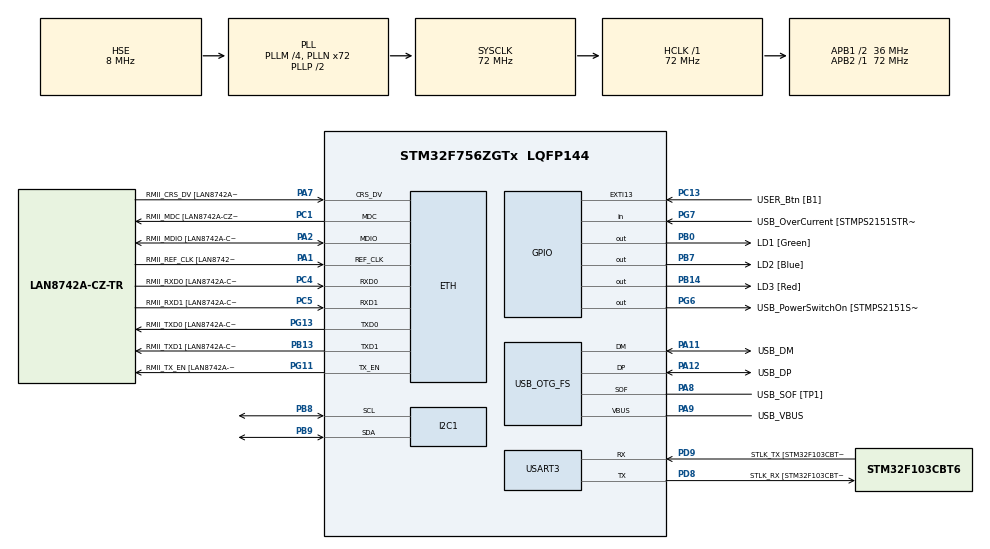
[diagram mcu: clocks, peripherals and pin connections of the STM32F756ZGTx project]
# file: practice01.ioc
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CORTEX_M7.ART_ACCELERATOR_ENABLE=0
CORTEX_M7.FlashInterface=AXI_Enabled
ETH.MediaInterface=HAL_ETH_RMII_MODE
ETH.PHY_Name=LAN8742A_PHY_ADDRESS
ETH.PHY_Value=0
ETH.PhyAddress=0
FREERTOS.Queues01=myQueue01,32,char,0,Dynamic,NULL,NULL
FREERTOS.Tasks01=defaultTask,24,128,StartDefaultTask,Default,NULL,Dynamic,NULL,NULL
FREERTOS.configUSE_NEWLIB_REENTRANT=1
I2C1.Timing=0x00808CD2
Mcu.Family=STM32F7
Mcu.Name=STM32F756ZGTx
Mcu.Package=LQFP144
NVIC.PriorityGroup=NVIC_PRIORITYGROUP_4
NVIC.RTC_Alarm_IRQn=true\:5\:0\:false\:true\:true\:2\:true\:true\:true\:true
NVIC.TIM1_UP_TIM10_IRQn=true\:15\:0\:false\:false\:true\:false\:false\:true\:true
NVIC.TimeBase=TIM1_UP_TIM10_IRQn
NVIC.TimeBaseIP=TIM1
NVIC.USART3_IRQn=true\:5\:0\:false\:true\:true\:1\:false\:true\:true\:true
PA1.GPIO_Label=RMII_REF_CLK [LAN8742A-CZ-TR_REFCLK0]
PA1.Mode=RMII
PA1.Signal=ETH_REF_CLK
PA10.GPIO_Label=USB_ID
PA10.Signal=USB_OTG_FS_ID
PA11.GPIO_Label=USB_DM
PA11.Mode=Device_Only
PA11.Signal=USB_OTG_FS_DM
PA12.GPIO_Label=USB_DP
PA12.Mode=Device_Only
PA12.Signal=USB_OTG_FS_DP
PA13.GPIO_Label=TMS
PA13.Mode=Serial_Wire
PA13.Signal=SYS_JTMS-SWDIO
PA14.GPIO_Label=TCK
PA14.Mode=Serial_Wire
PA14.Signal=SYS_JTCK-SWCLK
PA2.GPIO_Label=RMII_MDIO [LAN8742A-CZ-TR_MDIO]
PA2.Mode=RMII
PA2.Signal=ETH_MDIO
PA7.GPIO_Label=RMII_CRS_DV [LAN8742A-CZ-TR_CRS_DV]
PA7.Mode=RMII
PA7.Signal=ETH_CRS_DV
PA8.GPIO_Label=USB_SOF [TP1]
PA8.Mode=Activate_SOF_FS
PA8.Signal=USB_OTG_FS_SOF
PA9.GPIO_Label=USB_VBUS
PA9.Mode=Activate_VBUS
PA9.Signal=USB_OTG_FS_VBUS
PB0.GPIO_Label=LD1 [Green]
PB0.Signal=GPIO_Output
PB13.GPIO_Label=RMII_TXD1 [LAN8742A-CZ-TR_TXD1]
PB13.Mode=RMII
PB13.Signal=ETH_TXD1
PB14.GPIO_Label=LD3 [Red]
PB14.Signal=GPIO_Output
PB3.GPIO_Label=SW0
PB3.Signal=SYS_JTDO-SWO
PB7.GPIO_Label=LD2 [Blue]
PB7.Signal=GPIO_Output
PB8.Mode=I2C
PB8.Signal=I2C1_SCL
PB9.Mode=I2C
PB9.Signal=I2C1_SDA
PC1.GPIO_Label=RMII_MDC [LAN8742A-CZ-TR_MDC]
PC1.Mode=RMII
PC1.Signal=ETH_MDC
PC13.GPIO_Label=USER_Btn [B1]
PC13.Signal=GPXTI13
PC14/OSC32_IN.Mode=LSE-External-Oscillator
PC14/OSC32_IN.Signal=RCC_OSC32_IN
PC15/OSC32_OUT.Mode=LSE-External-Oscillator
PC15/OSC32_OUT.Signal=RCC_OSC32_OUT
PC4.GPIO_Label=RMII_RXD0 [LAN8742A-CZ-TR_RXD0]
PC4.Mode=RMII
PC4.Signal=ETH_RXD0
PC5.GPIO_Label=RMII_RXD1 [LAN8742A-CZ-TR_RXD1]
PC5.Mode=RMII
PC5.Signal=ETH_RXD1
PD8.GPIO_Label=STLK_RX [STM32F103CBT6_PA3]
PD8.Mode=Asynchronous
PD8.Signal=USART3_TX
PD9.GPIO_Label=STLK_TX [STM32F103CBT6_PA2]
PD9.Mode=Asynchronous
PD9.Signal=USART3_RX
PG11.GPIO_Label=RMII_TX_EN [LAN8742A-CZ-TR_TXEN]
PG11.Mode=RMII
PG11.Signal=ETH_TX_EN
PG13.GPIO_Label=RMII_TXD0 [LAN8742A-CZ-TR_TXD0]
PG13.Mode=RMII
PG13.Signal=ETH_TXD0
PG6.GPIO_Label=USB_PowerSwitchOn [STMPS2151STR_EN]
PG6.Signal=GPIO_Output
PG7.GPIO_Label=USB_OverCurrent [STMPS2151STR_FAULT]
PG7.Signal=GPIO_Input
PH0/OSC_IN.GPIO_Label=MCO [STM32F103CBT6_PA8]
PH0/OSC_IN.Mode=HSE-External-Clock-Source
PH0/OSC_IN.Signal=RCC_OSC_IN
PH1/OSC_OUT.Mode=HSE-External-Clock-Source
PH1/OSC_OUT.Signal=RCC_OSC_OUT
ProjectManager.HeapSize=0x200
ProjectManager.StackSize=0x400
ProjectManager.TargetToolchain=STM32CubeIDE
RCC.48MHZClocksFreq_Value=24000000
RCC.AHBFreq_Value=72000000
RCC.APB1CLKDivider=RCC_HCLK_DIV2
RCC.APB1Freq_Value=36000000
RCC.APB1TimFreq_Value=72000000
RCC.APB2Freq_Value=72000000
RCC.APB2TimFreq_Value=72000000
RCC.CortexFreq_Value=72000000
RCC.HCLKFreq_Value=72000000
RCC.HSE_VALUE=8000000
RCC.HSI_VALUE=16000000
RCC.PLLM=4
RCC.PLLMUL=RCC_PLL_MUL9
RCC.PLLN=72
RCC.PLLQ=3
RCC.PRESCALERUSB=RCC_USBCLKSOURCE_PLL_DIV1_5
RCC.SYSCLKFreq_VALUE=72000000
RCC.SYSCLKSource=RCC_SYSCLKSOURCE_PLLCLK
RCC.SYSCLKSourceVirtual=RCC_SYSCLKSOURCE_PLLCLK
RCC.USBFreq_Value=48000000
RCC.VCOOutputFreq_Value=144000000
RTC.Alarm-Alarm\ A=RTC_ALARM_A
RTC.AlarmMaskDateWeekDay-Alarm\ A=RTC_ALARMMASK_DATEWEEKDAY
RTC.AlarmMaskHours-Alarm\ A=RTC_ALARMMASK_HOURS
RTC.AlarmMaskMinutes-Alarm\ A=RTC_ALARMMASK_MINUTES
RTC.AlarmSubSecondMask-Alarm\ A=RTC_ALARMSUBSECONDMASK_ALL
RTC.Seconds=0
RTC.Seconds_A-Alarm\ A=1
RTC.SubSeconds_A-Alarm\ A=0
USART3.VirtualMode-Asynchronous=VM_ASYNC
USB_OTG_FS.VirtualMode=Device_Only
VP_FREERTOS_VS_CMSIS_V2.Mode=CMSIS_V2
VP_RTC_VS_RTC_Activate.Mode=RTC_Enabled
VP_RTC_VS_RTC_Alarm_A_Intern.Mode=Alarm A
VP_RTC_VS_RTC_Calendar.Mode=RTC_Calendar
VP_SYS_VS_tim1.Mode=TIM1
board=NUCLEO-F756ZG

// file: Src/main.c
/* USER CODE BEGIN Header */
/**
  ******************************************************************************
  * @file           : main.c
  * @brief          : Main program body
  ******************************************************************************
  * @attention
  *
  * Copyright (c) 2024 STMicroelectronics.
  * All rights reserved.
  *
  * This software is licensed under terms that can be found in the LICENSE file
  * in the root directory of this software component.
  * If no LICENSE file comes with this software, it is provided AS-IS.
  *
  ******************************************************************************
  */
/* USER CODE END Header */
#include "main.h"
#include "string.h"
#include "cmsis_os.h"

/* USER CODE BEGIN Includes */
#include "stm32f7xx_ll_rtc.h"
#include "stm32f7xx_ll_pwr.h"
#include "stdlib.h"
#include "flash_rw.h"
#include "flash_map.h"
/* USER CODE END Includes */

/* USER CODE BEGIN PTD */
#define RX_BUFFER_LENGTH 48

typedef struct RxBuffer
{
	uint16_t buffer_position;
	uint8_t buffer[RX_BUFFER_LENGTH];
} RxBuffer_t;
/* USER CODE END PTD */

/* USER CODE BEGIN PD */
#define RTC_BKUP_COMPARE 0x1234

/* USER CODE END PD */

#if defined ( __ICCARM__ ) /*!< IAR Compiler */
#pragma location=0x2004c000
ETH_DMADescTypeDef  DMARxDscrTab[ETH_RX_DESC_CNT]; /* Ethernet Rx DMA Descriptors */
#pragma location=0x2004c0a0
ETH_DMADescTypeDef  DMATxDscrTab[ETH_TX_DESC_CNT]; /* Ethernet Tx DMA Descriptors */

#elif defined ( __CC_ARM )  /* MDK ARM Compiler */

__attribute__((at(0x2004c000))) ETH_DMADescTypeDef  DMARxDscrTab[ETH_RX_DESC_CNT]; /* Ethernet Rx DMA Descriptors */
__attribute__((at(0x2004c0a0))) ETH_DMADescTypeDef  DMATxDscrTab[ETH_TX_DESC_CNT]; /* Ethernet Tx DMA Descriptors */

#elif defined ( __GNUC__ ) /* GNU Compiler */

ETH_DMADescTypeDef DMARxDscrTab[ETH_RX_DESC_CNT] __attribute__((section(".RxDecripSection"))); /* Ethernet Rx DMA Descriptors */
ETH_DMADescTypeDef DMATxDscrTab[ETH_TX_DESC_CNT] __attribute__((section(".TxDecripSection")));   /* Ethernet Tx DMA Descriptors */
#endif

ETH_TxPacketConfig TxConfig;

ETH_HandleTypeDef heth;

I2C_HandleTypeDef hi2c1;

RTC_HandleTypeDef hrtc;

UART_HandleTypeDef huart3;

PCD_HandleTypeDef hpcd_USB_OTG_FS;

/* Definitions for defaultTask */
osThreadId_t defaultTaskHandle;
const osThreadAttr_t defaultTask_attributes = {
  .name = "defaultTask",
  .stack_size = 128 * 4,
  .priority = (osPriority_t) osPriorityNormal,
};
/* Definitions for myQueue01 */
osMessageQueueId_t myQueue01Handle;
const osMessageQueueAttr_t myQueue01_attributes = {
  .name = "myQueue01"
};
/* USER CODE BEGIN PV */

RxBuffer_t input_buffer;
RTC_TimeTypeDef time_now;
RTC_DateTypeDef date_now;

/* Retargets the C library printf function to the USART. */
#include <stdio.h>
#ifdef __GNUC__
int __io_putchar(int ch)
#else
int fputc(int ch, FILE *f)
#endif
{
    HAL_UART_Transmit(&huart3, (uint8_t *)&ch, 1, 0xFFFF);

    return ch;
}
#ifdef __GNUC__
int _write(int file,char *ptr, int len)
{
    int DataIdx;
    for (DataIdx= 0; DataIdx< len; DataIdx++) {
        __io_putchar(*ptr++);
    }
    return len;
}
#endif
/* USER CODE END PV */

void SystemClock_Config(void);
static void MX_GPIO_Init(void);
static void MX_ETH_Init(void);
static void MX_USART3_UART_Init(void);
static void MX_USB_OTG_FS_PCD_Init(void);
static void MX_I2C1_Init(void);
static void MX_RTC_Init(void);
void StartDefaultTask(void *argument);

static void MX_NVIC_Init(void);
/* USER CODE BEGIN PFP */
void user_init(void);
static inline bool was_power_cycled(void);
/* USER CODE END PFP */

/* USER CODE BEGIN 0 */

// the static initializations ensure that the value is only tested and set once
// subsequent calls only have to return a value
static inline bool was_power_cycled(void)
{
	static bool first_call = true;
	static bool power_cycled = true;

	if (first_call)
	{
		first_call = false;
		power_cycled = HAL_RTCEx_BKUPRead(&hrtc, RTC_BKP_DR1) != RTC_BKUP_COMPARE;
		if (power_cycled) HAL_RTCEx_BKUPWrite(&hrtc, RTC_BKP_DR1, RTC_BKUP_COMPARE);
	}

	return power_cycled;
}
/* USER CODE END 0 */

int main(void)
{

  /* MCU Configuration--------------------------------------------------------*/

  /* Reset of all peripherals, Initializes the Flash interface and the Systick. */
  HAL_Init();

  /* USER CODE BEGIN Init */
  /* Turn off buffers, so I/O occurs immediately */
  setvbuf(stdin, NULL, _IONBF, 0);
  setvbuf(stdout, NULL, _IONBF, 0);
  setvbuf(stderr, NULL, _IONBF, 0);
  /* USER CODE END Init */

  /* Configure the system clock */
  SystemClock_Config();

  /* Initialize all configured peripherals */
  MX_GPIO_Init();
  MX_ETH_Init();
  MX_USART3_UART_Init();
  MX_USB_OTG_FS_PCD_Init();
  MX_I2C1_Init();
  MX_RTC_Init();

  /* Initialize interrupts */
  MX_NVIC_Init();

  /* Init scheduler */
  osKernelInitialize();

  /* Create the queue(s) */
  /* creation of myQueue01 */
  myQueue01Handle = osMessageQueueNew (32, sizeof(char), &myQueue01_attributes);

  /* Create the thread(s) */
  /* creation of defaultTask */
  defaultTaskHandle = osThreadNew(StartDefaultTask, NULL, &defaultTask_attributes);

  /* Start scheduler */
  osKernelStart();

  /* We should never get here as control is now taken by the scheduler */

  /* Infinite loop */
  while (1)
  {

  }
}

void SystemClock_Config(void)
{
  RCC_OscInitTypeDef RCC_OscInitStruct = {0};
  RCC_ClkInitTypeDef RCC_ClkInitStruct = {0};

  /** Configure LSE Drive Capability
  */
  HAL_PWR_EnableBkUpAccess();

  /** Configure the main internal regulator output voltage
  */
  __HAL_RCC_PWR_CLK_ENABLE();
  __HAL_PWR_VOLTAGESCALING_CONFIG(PWR_REGULATOR_VOLTAGE_SCALE3);

  /** Initializes the RCC Oscillators according to the specified parameters
  * in the RCC_OscInitTypeDef structure.
  */
  RCC_OscInitStruct.OscillatorType = RCC_OSCILLATORTYPE_LSI|RCC_OSCILLATORTYPE_HSE;
  RCC_OscInitStruct.HSEState = RCC_HSE_BYPASS;
  RCC_OscInitStruct.LSIState = RCC_LSI_ON;
  RCC_OscInitStruct.PLL.PLLState = RCC_PLL_ON;
  RCC_OscInitStruct.PLL.PLLSource = RCC_PLLSOURCE_HSE;
  RCC_OscInitStruct.PLL.PLLM = 4;
  RCC_OscInitStruct.PLL.PLLN = 72;
  RCC_OscInitStruct.PLL.PLLP = RCC_PLLP_DIV2;
  RCC_OscInitStruct.PLL.PLLQ = 3;
  if (HAL_RCC_OscConfig(&RCC_OscInitStruct) != HAL_OK)
  {
    Error_Handler();
  }

  /** Initializes the CPU, AHB and APB buses clocks
  */
  RCC_ClkInitStruct.ClockType = RCC_CLOCKTYPE_HCLK|RCC_CLOCKTYPE_SYSCLK
                              |RCC_CLOCKTYPE_PCLK1|RCC_CLOCKTYPE_PCLK2;
  RCC_ClkInitStruct.SYSCLKSource = RCC_SYSCLKSOURCE_PLLCLK;
  RCC_ClkInitStruct.AHBCLKDivider = RCC_SYSCLK_DIV1;
  RCC_ClkInitStruct.APB1CLKDivider = RCC_HCLK_DIV2;
  RCC_ClkInitStruct.APB2CLKDivider = RCC_HCLK_DIV1;

  if (HAL_RCC_ClockConfig(&RCC_ClkInitStruct, FLASH_LATENCY_2) != HAL_OK)
  {
    Error_Handler();
  }
}

/**
  * @brief NVIC Configuration.
  * @retval None
  */
static void MX_NVIC_Init(void)
{
  /* USART3_IRQn interrupt configuration */
  HAL_NVIC_SetPriority(USART3_IRQn, 5, 0);
  HAL_NVIC_EnableIRQ(USART3_IRQn);
  /* RTC_Alarm_IRQn interrupt configuration */
  HAL_NVIC_SetPriority(RTC_Alarm_IRQn, 5, 0);
  HAL_NVIC_EnableIRQ(RTC_Alarm_IRQn);
}

static void MX_ETH_Init(void)
{

   static uint8_t MACAddr[6];

  heth.Instance = ETH;
  MACAddr[0] = 0x00;
  MACAddr[1] = 0x80;
  MACAddr[2] = 0xE1;
  MACAddr[3] = 0x00;
  MACAddr[4] = 0x00;
  MACAddr[5] = 0x00;
  heth.Init.MACAddr = &MACAddr[0];
  heth.Init.MediaInterface = HAL_ETH_RMII_MODE;
  heth.Init.TxDesc = DMATxDscrTab;
  heth.Init.RxDesc = DMARxDscrTab;
  heth.Init.RxBuffLen = 1524;

  if (HAL_ETH_Init(&heth) != HAL_OK)
  {
    Error_Handler();
  }

  memset(&TxConfig, 0 , sizeof(ETH_TxPacketConfig));
  TxConfig.Attributes = ETH_TX_PACKETS_FEATURES_CSUM | ETH_TX_PACKETS_FEATURES_CRCPAD;
  TxConfig.ChecksumCtrl = ETH_CHECKSUM_IPHDR_PAYLOAD_INSERT_PHDR_CALC;
  TxConfig.CRCPadCtrl = ETH_CRC_PAD_INSERT;

}

static void MX_I2C1_Init(void)
{

  hi2c1.Instance = I2C1;
  hi2c1.Init.Timing = 0x00808CD2;
  hi2c1.Init.OwnAddress1 = 0;
  hi2c1.Init.AddressingMode = I2C_ADDRESSINGMODE_7BIT;
  hi2c1.Init.DualAddressMode = I2C_DUALADDRESS_DISABLE;
  hi2c1.Init.OwnAddress2 = 0;
  hi2c1.Init.OwnAddress2Masks = I2C_OA2_NOMASK;
  hi2c1.Init.GeneralCallMode = I2C_GENERALCALL_DISABLE;
  hi2c1.Init.NoStretchMode = I2C_NOSTRETCH_DISABLE;
  if (HAL_I2C_Init(&hi2c1) != HAL_OK)
  {
    Error_Handler();
  }

  /** Configure Analogue filter
  */
  if (HAL_I2CEx_ConfigAnalogFilter(&hi2c1, I2C_ANALOGFILTER_ENABLE) != HAL_OK)
  {
    Error_Handler();
  }

  /** Configure Digital filter
  */
  if (HAL_I2CEx_ConfigDigitalFilter(&hi2c1, 0) != HAL_OK)
  {
    Error_Handler();
  }

}

static void MX_RTC_Init(void)
{

  RTC_TimeTypeDef sTime = {0};
  RTC_DateTypeDef sDate = {0};
  RTC_AlarmTypeDef sAlarm = {0};

  /** Initialize RTC Only
  */
  hrtc.Instance = RTC;
  hrtc.Init.HourFormat = RTC_HOURFORMAT_24;
  hrtc.Init.AsynchPrediv = 127;
  hrtc.Init.SynchPrediv = 255;
  hrtc.Init.OutPut = RTC_OUTPUT_DISABLE;
  hrtc.Init.OutPutPolarity = RTC_OUTPUT_POLARITY_HIGH;
  hrtc.Init.OutPutType = RTC_OUTPUT_TYPE_OPENDRAIN;
  if (HAL_RTC_Init(&hrtc) != HAL_OK)
  {
    Error_Handler();
  }

  /* USER CODE BEGIN Check_RTC_BKUP */

  if (!was_power_cycled())
  {
	  if (HAL_RTC_SetAlarm_IT(&hrtc, &sAlarm, RTC_FORMAT_BCD) != HAL_OK)
	  {
		Error_Handler();
	  }

	  return;
  }

  /* Note: the following is for "one time" operations after power cycle. */
  printf("Configuring RTC (power cycled).\n\r");

  /* USER CODE END Check_RTC_BKUP */

  /** Initialize RTC and set the Time and Date
  */
  sTime.Hours = 0x0;
  sTime.Minutes = 0x0;
  sTime.Seconds = 0x0;
  sTime.DayLightSaving = RTC_DAYLIGHTSAVING_NONE;
  sTime.StoreOperation = RTC_STOREOPERATION_RESET;
  if (HAL_RTC_SetTime(&hrtc, &sTime, RTC_FORMAT_BCD) != HAL_OK)
  {
    Error_Handler();
  }
  sDate.WeekDay = RTC_WEEKDAY_MONDAY;
  sDate.Month = RTC_MONTH_JANUARY;
  sDate.Date = 0x1;
  sDate.Year = 0x0;
  if (HAL_RTC_SetDate(&hrtc, &sDate, RTC_FORMAT_BCD) != HAL_OK)
  {
    Error_Handler();
  }

  /** Enable the Alarm A
  */
  sAlarm.AlarmTime.Hours = 0x0;
  sAlarm.AlarmTime.Minutes = 0x0;
  sAlarm.AlarmTime.Seconds = 0x1;
  sAlarm.AlarmTime.SubSeconds = 0x0;
  sAlarm.AlarmTime.DayLightSaving = RTC_DAYLIGHTSAVING_NONE;
  sAlarm.AlarmTime.StoreOperation = RTC_STOREOPERATION_RESET;
  sAlarm.AlarmMask = RTC_ALARMMASK_DATEWEEKDAY|RTC_ALARMMASK_HOURS
                              |RTC_ALARMMASK_MINUTES;
  sAlarm.AlarmSubSecondMask = RTC_ALARMSUBSECONDMASK_ALL;
  sAlarm.AlarmDateWeekDaySel = RTC_ALARMDATEWEEKDAYSEL_DATE;
  sAlarm.AlarmDateWeekDay = 0x1;
  sAlarm.Alarm = RTC_ALARM_A;
  if (HAL_RTC_SetAlarm_IT(&hrtc, &sAlarm, RTC_FORMAT_BCD) != HAL_OK)
  {
    Error_Handler();
  }

}

static void MX_USART3_UART_Init(void)
{

  huart3.Instance = USART3;
  huart3.Init.BaudRate = 115200;
  huart3.Init.WordLength = UART_WORDLENGTH_8B;
  huart3.Init.StopBits = UART_STOPBITS_1;
  huart3.Init.Parity = UART_PARITY_NONE;
  huart3.Init.Mode = UART_MODE_TX_RX;
  huart3.Init.HwFlowCtl = UART_HWCONTROL_NONE;
  huart3.Init.OverSampling = UART_OVERSAMPLING_16;
  huart3.Init.OneBitSampling = UART_ONE_BIT_SAMPLE_DISABLE;
  huart3.AdvancedInit.AdvFeatureInit = UART_ADVFEATURE_NO_INIT;
  if (HAL_UART_Init(&huart3) != HAL_OK)
  {
    Error_Handler();
  }

}

static void MX_USB_OTG_FS_PCD_Init(void)
{

  hpcd_USB_OTG_FS.Instance = USB_OTG_FS;
  hpcd_USB_OTG_FS.Init.dev_endpoints = 6;
  hpcd_USB_OTG_FS.Init.speed = PCD_SPEED_FULL;
  hpcd_USB_OTG_FS.Init.dma_enable = DISABLE;
  hpcd_USB_OTG_FS.Init.phy_itface = PCD_PHY_EMBEDDED;
  hpcd_USB_OTG_FS.Init.Sof_enable = ENABLE;
  hpcd_USB_OTG_FS.Init.low_power_enable = DISABLE;
  hpcd_USB_OTG_FS.Init.lpm_enable = DISABLE;
  hpcd_USB_OTG_FS.Init.vbus_sensing_enable = ENABLE;
  hpcd_USB_OTG_FS.Init.use_dedicated_ep1 = DISABLE;
  if (HAL_PCD_Init(&hpcd_USB_OTG_FS) != HAL_OK)
  {
    Error_Handler();
  }

}

static void MX_GPIO_Init(void)
{
  GPIO_InitTypeDef GPIO_InitStruct = {0};

  /* GPIO Ports Clock Enable */
  __HAL_RCC_GPIOC_CLK_ENABLE();
  __HAL_RCC_GPIOH_CLK_ENABLE();
  __HAL_RCC_GPIOA_CLK_ENABLE();
  __HAL_RCC_GPIOB_CLK_ENABLE();
  __HAL_RCC_GPIOD_CLK_ENABLE();
  __HAL_RCC_GPIOG_CLK_ENABLE();

  /*Configure GPIO pin Output Level */
  HAL_GPIO_WritePin(GPIOB, LD1_Pin|LD3_Pin|LD2_Pin, GPIO_PIN_RESET);

  /*Configure GPIO pin Output Level */
  HAL_GPIO_WritePin(USB_PowerSwitchOn_GPIO_Port, USB_PowerSwitchOn_Pin, GPIO_PIN_RESET);

  /*Configure GPIO pin : USER_Btn_Pin */
  GPIO_InitStruct.Pin = USER_Btn_Pin;
  GPIO_InitStruct.Mode = GPIO_MODE_IT_RISING;
  GPIO_InitStruct.Pull = GPIO_NOPULL;
  HAL_GPIO_Init(USER_Btn_GPIO_Port, &GPIO_InitStruct);

  /*Configure GPIO pins : LD1_Pin LD3_Pin LD2_Pin */
  GPIO_InitStruct.Pin = LD1_Pin|LD3_Pin|LD2_Pin;
  GPIO_InitStruct.Mode = GPIO_MODE_OUTPUT_PP;
  GPIO_InitStruct.Pull = GPIO_NOPULL;
  GPIO_InitStruct.Speed = GPIO_SPEED_FREQ_LOW;
  HAL_GPIO_Init(GPIOB, &GPIO_InitStruct);

  /*Configure GPIO pin : USB_PowerSwitchOn_Pin */
  GPIO_InitStruct.Pin = USB_PowerSwitchOn_Pin;
  GPIO_InitStruct.Mode = GPIO_MODE_OUTPUT_PP;
  GPIO_InitStruct.Pull = GPIO_NOPULL;
  GPIO_InitStruct.Speed = GPIO_SPEED_FREQ_LOW;
  HAL_GPIO_Init(USB_PowerSwitchOn_GPIO_Port, &GPIO_InitStruct);

  /*Configure GPIO pin : USB_OverCurrent_Pin */
  GPIO_InitStruct.Pin = USB_OverCurrent_Pin;
  GPIO_InitStruct.Mode = GPIO_MODE_INPUT;
  GPIO_InitStruct.Pull = GPIO_NOPULL;
  HAL_GPIO_Init(USB_OverCurrent_GPIO_Port, &GPIO_InitStruct);

}

/* USER CODE BEGIN 4 */
void HAL_UART_RxCpltCallback(UART_HandleTypeDef *huart)
{
	if (input_buffer.buffer_position >= RX_BUFFER_LENGTH - 2
			|| input_buffer.buffer[input_buffer.buffer_position] == '\r'
			|| input_buffer.buffer[input_buffer.buffer_position] == '\n')
	{
		input_buffer.buffer[input_buffer.buffer_position] = '\n';
		input_buffer.buffer[input_buffer.buffer_position+1] = '\r';

		HAL_UART_Transmit(&huart3, input_buffer.buffer, RX_BUFFER_LENGTH, 0xFFFF);

		input_buffer.buffer_position = 0;
		memset(input_buffer.buffer, (uint8_t)'\0', sizeof(uint8_t) * RX_BUFFER_LENGTH);
	}
	else
	{
		input_buffer.buffer_position++;
	}

	HAL_UART_Receive_IT(&huart3, input_buffer.buffer + input_buffer.buffer_position, 1);
}

void HAL_RTC_AlarmAEventCallback(RTC_HandleTypeDef *hrtc)
{
	static uint8_t index = 0;
	static RTC_AlarmTypeDef sAlarm;

	// update the global timestamp every alarm
	HAL_RTC_GetTime(hrtc, &time_now, FORMAT_BIN);
	HAL_RTC_GetDate(hrtc, &date_now, FORMAT_BIN);

	// increment the alarm so it keeps going
	HAL_RTC_GetAlarm(hrtc,&sAlarm,RTC_ALARM_A,FORMAT_BIN);

	if(sAlarm.AlarmTime.Seconds < 59)
	{
		sAlarm.AlarmTime.Seconds += 1;
	}
	else
	{
		sAlarm.AlarmTime.Seconds = 0;
	}

	while(HAL_RTC_SetAlarm_IT(hrtc, &sAlarm, FORMAT_BIN)!=HAL_OK)
	{
	}

	HAL_GPIO_WritePin(LD1_GPIO_Port, LD1_Pin, index == 0);
	HAL_GPIO_WritePin(LD2_GPIO_Port, LD2_Pin, index == 1 || index == 3);
	HAL_GPIO_WritePin(LD3_GPIO_Port, LD3_Pin, index == 2);

	index++;
	if (index > 3) index = 0;
}

void print_flash_map_logs(FlashMap_t *map)
{
	printf("\n\rPrinting test logs:\n\r");
	uint8_t sectorIdx = map->head_sector_index;
    uint8_t prevStringLength = 0;
    uint8_t lastStringLength = 0;
	uint32_t sectorOffset = 0;
	char testLog[FLASH_STRING_LENGTH_BYTES];

	memset(testLog, '\0', FLASH_STRING_LENGTH_BYTES);

	for(;;)
	{
		// check if finished reading current sector
		if(sectorOffset >= map->sectors_write_offsets[sectorIdx])
		{
			// check if need to stop (or start over, but stop for now)
			if (sectorIdx == map->tail_sector_index)
			{
				//sectoridx = inmem_flash_map->head_sector_index;
				//stringidx = 0;
				break;
			}
			// else increment read sector
			else
			{
				sectorIdx++;
				sectorOffset = 0;
				if (sectorIdx >= FLASH_USED_SECTORS_COUNT) sectorIdx = 0;
			}
		}

		lastStringLength = flash_map_get_string_nonalloc(map, sectorIdx, sectorOffset, (uint8_t *)testLog);
		printf("%02u:%02u:%02u ~ Sector %lu <+%lu>(%02u)[%s]\n\r", time_now.Hours, time_now.Minutes, time_now.Seconds, map->sectors_numbers[sectorIdx], sectorOffset, lastStringLength, testLog);
		osDelay(pdMS_TO_TICKS(1));
		sectorOffset += lastStringLength + 1;

		if (lastStringLength != prevStringLength)
		{
			memset(testLog, '\0', FLASH_STRING_LENGTH_BYTES);
		}

		prevStringLength = lastStringLength;
	}

	printf("Done.\n\r");
}

void write_test_flash_map(FlashMap_t *map, uint16_t log_count)
{
    uint8_t last_string_length = 0;
	char testLog[FLASH_STRING_LENGTH_BYTES];
	printf("Writing %u test logs of max length %u.\n\r", log_count, FLASH_STRING_LENGTH_BYTES);
	printf("\n\rLogs written: 00000/%05u\b\b\b\b\b\b\b\b\b\b\b", log_count-1);

	for (uint16_t i = 0; i < log_count; i++)
	{
		osDelay(1);
		printf("%05u/%05u(%02u)\b\b\b\b\b\b\b\b\b\b\b\b\b\b\b", i, log_count-1, last_string_length);
		sprintf(testLog, "%u:%u:%u ~ Test log %u.", time_now.Hours, time_now.Minutes, time_now.Seconds, i);
		last_string_length = flash_map_append_string(map, (uint8_t *)testLog);
	}

	printf("\n\rWritten %d test logs.\n\r", log_count);
	flash_map_save(map, FLASH_SECTOR_3_ADDRESS);
	printf("Saved flash map to flash storage.\n\r");
	osDelay(pdMS_TO_TICKS(100));
}

void reset_alarm()
{
	static RTC_AlarmTypeDef sAlarm;

	// update the global timestamp
	HAL_RTC_GetTime(&hrtc, &time_now, FORMAT_BIN);
	HAL_RTC_GetDate(&hrtc, &date_now, FORMAT_BIN);

	// set the alarm so it keeps going
	HAL_RTC_GetAlarm(&hrtc,&sAlarm,RTC_ALARM_A,FORMAT_BIN);

	if (time_now.Seconds >= 59) sAlarm.AlarmTime.Seconds = 0;
	else sAlarm.AlarmTime.Seconds = time_now.Seconds + 1;

	while(HAL_RTC_SetAlarm_IT(&hrtc, &sAlarm, FORMAT_BIN)!=HAL_OK)
	{
	}
}

void print_date_time()
{
	printf("\n\rThe current date is: %02u/%02u/%02u.\n\r", date_now.Date, date_now.Month, date_now.Year);
	printf("The current time is: %02u:%02u:%02u.\n\r", time_now.Hours, time_now.Minutes, time_now.Seconds);
}

void set_date_time()
{
	RTC_DateTypeDef sDate = {0};
	RTC_TimeTypeDef sTime = {0};
	char input[2];
	uint8_t num = 0;

	sDate.WeekDay = RTC_WEEKDAY_MONDAY;
	sTime.DayLightSaving = RTC_DAYLIGHTSAVING_NONE;
	sTime.StoreOperation = RTC_STOREOPERATION_RESET;

	printf("Let's set the date.\n\rAll values are two digits including leading zero.\n\r");
	printf("enter year (yes two digits, STM is not Y2K prepared): ");
	HAL_UART_Receive(&huart3, (uint8_t *)&input[0], 1, 0xFFFF);
	printf("%c", input[0]);
	osDelay(100);
	HAL_UART_Receive(&huart3, (uint8_t *)&input[1], 1, 0xFFFF);
	printf("%c", input[1]);

	num = atoi(input);
	sDate.Year = num;
	osDelay(100);

	num = 30;
	while (num < 1 || num > 12)
	{
		printf("\n\renter month: ");
		HAL_UART_Receive(&huart3, (uint8_t *)&input[0], 1, 0xFFFF);
		printf("%c", input[0]);
		osDelay(100);
		HAL_UART_Receive(&huart3, (uint8_t *)&input[1], 1, 0xFFFF);
		printf("%c", input[1]);

		num = atoi(input);
	}

	sDate.Month = num;
	osDelay(100);

	printf("\n\renter day of the month: ");
	HAL_UART_Receive(&huart3, (uint8_t *)&input[0], 1, 0xFFFF);
	printf("%c", input[0]);
	osDelay(100);
	HAL_UART_Receive(&huart3, (uint8_t *)&input[1], 1, 0xFFFF);
	printf("%c", input[1]);

	num = atoi(input);
	sDate.Date = num;
	osDelay(100);

	printf("Let's set the time.\n\rAll values are two digits including leading zero.\n\r");
	printf("enter hour: ");
	HAL_UART_Receive(&huart3, (uint8_t *)&input[0], 1, 0xFFFF);
	printf("%c", input[0]);
	osDelay(100);
	HAL_UART_Receive(&huart3, (uint8_t *)&input[1], 1, 0xFFFF);
	printf("%c", input[1]);

	num = atoi(input);
	sTime.Hours = num;
	osDelay(100);

	printf("\n\renter minutes: ");
	HAL_UART_Receive(&huart3, (uint8_t *)&input[0], 1, 0xFFFF);
	printf("%c", input[0]);
	osDelay(100);
	HAL_UART_Receive(&huart3, (uint8_t *)&input[1], 1, 0xFFFF);
	printf("%c", input[1]);

	num = atoi(input);
	sTime.Minutes = num;
	osDelay(100);

	printf("\n\renter seconds: ");
	HAL_UART_Receive(&huart3, (uint8_t *)&input[0], 1, 0xFFFF);
	printf("%c", input[0]);
	osDelay(100);
	HAL_UART_Receive(&huart3, (uint8_t *)&input[1], 1, 0xFFFF);
	printf("%c", input[1]);

	num = atoi(input);
	sTime.Seconds = num;

	if (HAL_RTC_SetDate(&hrtc, &sDate, RTC_FORMAT_BIN) != HAL_OK)
	{
		printf("Error setting the date, apparently.\n\r");
		Error_Handler();
	}

	if (HAL_RTC_SetTime(&hrtc, &sTime, RTC_FORMAT_BIN) != HAL_OK)
	{
		printf("Error setting the time, apparently.\n\r");
		Error_Handler();
	}

	reset_alarm();
	printf("\n\rLet's wait a second...\n\r");
	osDelay(pdMS_TO_TICKS(1100));
	print_date_time();
	osDelay(100);
}
/* USER CODE END 4 */

void StartDefaultTask(void *argument)
{
  /* USER CODE BEGIN 5 */
    FlashMap_t *inmem_flash_map = malloc(sizeof(FlashMap_t));

    printf("\n\rOne moment...");
    osDelay(pdMS_TO_TICKS(250));
    printf(".");
    osDelay(pdMS_TO_TICKS(250));
    printf(".");
    osDelay(pdMS_TO_TICKS(250));
    printf(".");
    osDelay(pdMS_TO_TICKS(250));
    printf("\rHello from default task start.\n\r");
    osDelay(pdMS_TO_TICKS(100));
    print_date_time();
    osDelay(pdMS_TO_TICKS(100));

    // load existing map if exists, or create new
    flash_map_load_nonalloc(inmem_flash_map, FLASH_SECTOR_3_ADDRESS);

    if (inmem_flash_map->map_erased_flag || inmem_flash_map->map_version_number < FLASH_MAP_VERSION)
    {
    	printf("No saved flash map or old version, initializing new one.\n\r");
		flash_map_initialize_nonalloc(inmem_flash_map, FLASH_USED_SECTORS_COUNT, sector_configs, false);
		printf("Saving new flash map to sector 3.");
		flash_map_save(inmem_flash_map, FLASH_SECTOR_3_ADDRESS);

		// verifying that flash map was actually saved correctly
		printf("Testing map saving operation.\n\r");

		FlashMap_t *test_map = malloc(sizeof(FlashMap_t));
		flash_map_load_nonalloc(test_map, FLASH_SECTOR_3_ADDRESS);

		if (test_map->map_erased_flag == inmem_flash_map->map_erased_flag
				&& test_map->map_version_number == inmem_flash_map->map_version_number
				&& test_map->sectors_count == inmem_flash_map->sectors_count)
		{
			printf("Saved map appears valid.\n\r");
		} else printf("Saved map NOT VALID.\n\r");

        free(test_map);
    }

    if (was_power_cycled())
    {
		printf("[Power cycled]\n\r");
    }

  /* Infinite loop */
  for(;;)
  {
	char operation = '~';
	char target = '~';
    osDelay(pdMS_TO_TICKS(100));

	printf("Test interface. Enter operation character:\n\r\
			e: erase sector\n\r\
			w: write <target>x1,024 logs to flash map\n\r\
			p: print all logs sequentially\n\r\
			d: print date & time\n\r\
			t: set date & time\n\r\
			R: RESET SYSTEM\n\r");

	HAL_UART_Receive(&huart3, (uint8_t *)&operation, 1, 0xFFFF);
	printf("operation %c\n\r", operation);
    osDelay(pdMS_TO_TICKS(100));

    switch (operation) {
		case 'e':
			printf("Erase sector: enter sector number to erase or x to abort.\n\r");
			break;
		case 'w':
			printf("Write logs: enter single digit to write x1,024 logs.\n\r");
			break;
		case 'p':
			print_flash_map_logs(inmem_flash_map);
			continue;
		case 't':
			set_date_time();
			continue;
		case 'd':
			print_date_time();
			continue;
		case 'R':
			HAL_NVIC_SystemReset();
			break; // lol
		default:
			break;
	}

	HAL_UART_Receive(&huart3, (uint8_t *)&target, 1, 0xFFFF);
	printf("target %c\n\r", target);
    osDelay(pdMS_TO_TICKS(100));

	if (target == 'x')
	{
		printf("Operation cancelled.\n\r");
		continue;
	}

    switch (operation) {
		case 'e':
		uint32_t num = (uint32_t)atoi(&target);
		if (num < 3 || num > 7)
		{
			printf("Invalid sector selected.\n\r");
			continue;
		}
		flash_erase_sector(num);
			break;
		case 'w':
		write_test_flash_map(inmem_flash_map, 1024*(uint16_t)atoi(&target));
			break;
		default:
			break;
	}

  }

  /* USER CODE END 5 */
}

void HAL_TIM_PeriodElapsedCallback(TIM_HandleTypeDef *htim)
{
  if (htim->Instance == TIM1) {
    HAL_IncTick();
  }
}

void Error_Handler(void)
{
  __disable_irq();
  while (1)
  {
  }
}
